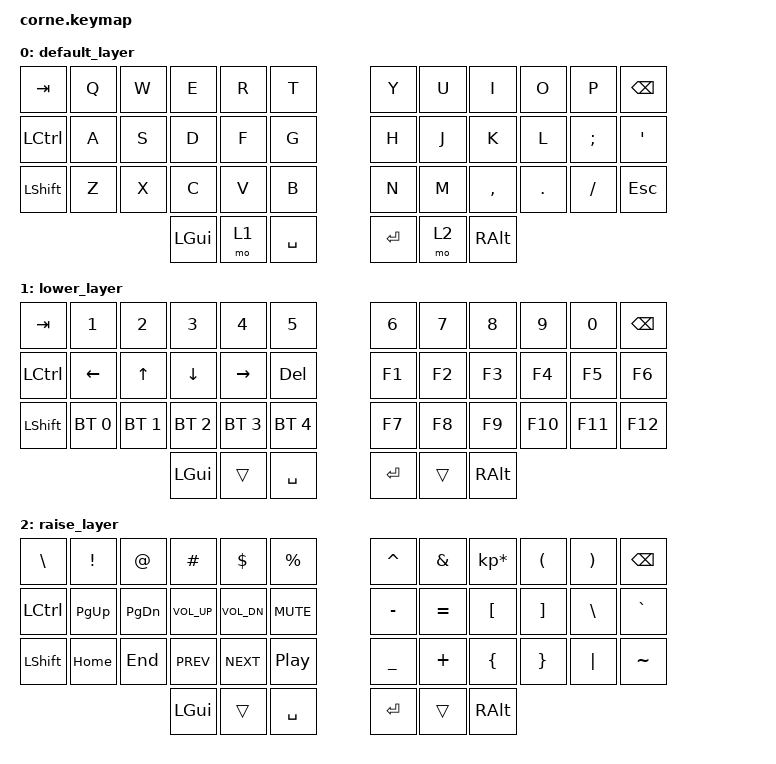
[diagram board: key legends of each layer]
/*
 * Copyright (c) 2020 The ZMK Contributors
 *
 * SPDX-License-Identifier: MIT
 */

#include <behaviors.dtsi>
#include <dt-bindings/zmk/bt.h>
#include <dt-bindings/zmk/keys.h>

/ {
    keymap {
        compatible = "zmk,keymap";

        default_layer {
            // -----------------------------------------------------------------------------------------
            // | TAB  |  Q   |  W   |  E   |  R   |  T   |  |  Y   |  U   |  I   |  O   |  P   | BKSP |
            // | CTRL |  A   |  S   |  D   |  F   |  G   |  |  H   |  J   |  K   |  L   |  ;   |  '   |
            // | SHFT |  Z   |  X   |  C   |  V   |  B   |  |  N   |  M   |  ,   |  .   |  /   |  ESC |
            //                     | GUI  | LWR  | SPC  |  | ENT  | RSE  | ALT  |

            bindings = <
&kp TAB   &kp Q  &kp W  &kp E     &kp R  &kp T        &kp Y    &kp U  &kp I      &kp O    &kp P     &kp BSPC
&kp LCTRL  &kp A  &kp S  &kp D     &kp F  &kp G        &kp H    &kp J  &kp K      &kp L    &kp SEMI  &kp SQT
&kp LSHFT  &kp Z  &kp X  &kp C     &kp V  &kp B        &kp N    &kp M  &kp COMMA  &kp DOT  &kp FSLH  &kp ESC
                         &kp LGUI  &mo 1  &kp SPACE    &kp RET  &mo 2  &kp RALT
            >;
        };

        lower_layer {
            // -----------------------------------------------------------------------------------------
            // | TAB  |  1   |  2   |  3   |  4   |  5   |  |  6   |  7   |  8   |  9   |  0   | BKSP |
            // | CTRL | LFT  | UP   | DOWN | RGT  | DEL  |  |  F1  |  F2  |  F3  |  F4  |  F5  |  F6  |
            // | SHFT |BT0   |BT1   |BT2   | BT3  | BT4  |  |  F7  |  F8  |  F9  | F10  | F11  | F12  |
            //                      | GUI  |      | SPC  |  | ENT  |      | ALT  |

            bindings = <
&kp TAB    &kp N1        &kp N2        &kp N3        &kp N4        &kp N5          &kp N6   &kp N7  &kp N8    &kp N9   &kp N0   &kp BSPC
&kp LCTRL  &kp LEFT      &kp UP        &kp DOWN        &kp RIGHT     &kp DEL         &kp F1   &kp F2  &kp F3    &kp F4   &kp F5   &kp F6
&kp LSHFT  &bt BT_SEL 0  &bt BT_SEL 1  &bt BT_SEL 2  &bt BT_SEL 3  &bt BT_SEL 4    &kp F7   &kp F8  &kp F9    &kp F10  &kp F11  &kp F12
                                       &kp LGUI      &trans        &kp SPACE       &kp RET  &trans  &kp RALT
            >;
        };

        raise_layer {
            // -----------------------------------------------------------------------------------------
            // |  \   |  !   |  @   |  #   |  $   |  %   |  |  ^   |  &   |  *   |  (   |  )   | BKSP |
            // | CTRL | PGUP | PGDN | VOL+ | VOL- | MUTE |  |  -   |  =   |  [   |  ]   |  \   |  `   |
            // | SHFT | HOME |  END | PREV | NEXT | PLAY |  |  _   |  +   |  {   |  }   |  |   |  ~   |
            //                      | GUI  |      | SPC  |  | ENT  |      | ALT  |

            bindings = <
&kp BSLH     &kp EXCL   &kp AT         &kp HASH          &kp DLLR      &kp PRCNT     &kp CARET  &kp AMPS   &kp KP_MULTIPLY  &kp LPAR  &kp RPAR  &kp BSPC
&kp LCTRL  &kp PG_UP  &kp PAGE_DOWN  &kp C_VOLUME_UP   &kp C_VOL_DN  &kp C_MUTE    &kp MINUS  &kp EQUAL  &kp LBKT         &kp RBKT  &kp BSLH  &kp GRAVE
&kp LSHFT  &kp HOME   &kp END        &kp C_PREV        &kp C_NEXT    &kp C_PLAY_PAUSE    &kp UNDER  &kp PLUS   &kp LBRC         &kp RBRC  &kp PIPE  &kp TILDE
                                     &kp LGUI          &trans        &kp SPACE     &kp RET    &trans     &kp RALT
            >;
        };
    };
};
